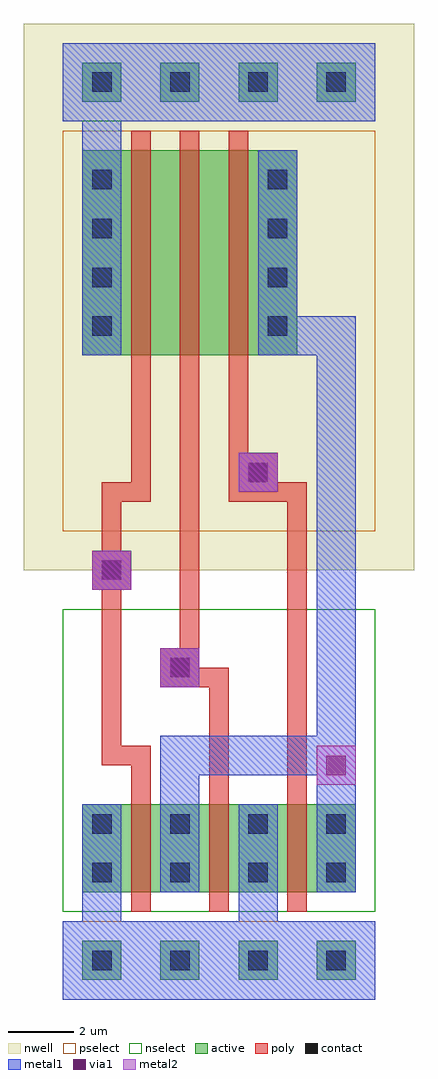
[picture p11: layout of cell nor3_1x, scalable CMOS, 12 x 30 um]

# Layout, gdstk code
import gdstk
lib = gdstk.Library(unit=1e-6, precision=1e-09)
def R(c, l, rs):  # rectangles x0, y0, x1, y1
    for r in rs: c.add(gdstk.rectangle(r[:2], r[2:], *l))
def A(c, l, x, y, w, h, nx, ny, dx, dy):  # array of equal rectangles
    R(c, l, [(x+i*dx, y+j*dy, x+i*dx+w, y+j*dy+h) for i in range(nx) for j in range(ny)])
def P(c, l, *ps):  # polygons
    for p in ps: c.add(gdstk.Polygon(p, *l))
contact = (25, 0)
nwell = (42, 0)
active = (43, 0)
pselect = (44, 0)
nselect = (45, 0)
poly = (46, 0)
metal1 = (49, 0)
via1 = (50, 0)
metal2 = (51, 0)

nor3_1x = lib.new_cell('nor3_1x')
A(nor3_1x, contact, 0.9, -0.3, 0.6, 0.6, 4, 2, 2.4, 2.7)
A(nor3_1x, contact, 0.9, 3.9, 0.6, 0.6, 4, 2, 2.4, 22.8)
A(nor3_1x, contact, 0.9, 19.2, 0.6, 0.6, 1, 4, 0, 1.5)
A(nor3_1x, contact, 6.3, 19.2, 0.6, 0.6, 1, 4, 0, 1.5)
R(nor3_1x, contact, [(3.3,8.7,3.9,9.3), (1.2,11.7,1.8,12.3), (5.7,14.7,6.3,15.3)])
R(nor3_1x, nwell, [(-1.2,12,10.8,28.8)])
A(nor3_1x, active, 0.6, -0.6, 1.2, 1.2, 4, 2, 2.4, 27)
R(nor3_1x, active, [(0.6,2.1,9,4.8), (0.6,18.6,7.2,24.9)])
R(nor3_1x, pselect, [(0,-1.2,9.6,1.2), (0,13.2,9.6,25.5)])
R(nor3_1x, nselect, [(0,1.5,9.6,10.8), (0,25.8,9.6,28.2)])
R(nor3_1x, poly, [(3,8.4,4.2,9.6), (0.9,11.4,2.1,12.6), (5.4,14.4,6.6,15.6)])
P(nor3_1x, poly, [(2.7,6.6),(1.8,6.6),(1.8,14.1),(2.7,14.1),(2.7,25.5),(2.1,25.5),(2.1,14.7),(1.2,14.7),(1.2,6),(2.1,6),(2.1,1.5),(2.7,1.5)],
  [(5.1,9),(4.2,9),(4.2,25.5),(3.6,25.5),(3.6,8.4),(4.5,8.4),(4.5,1.5),(5.1,1.5)],
  [(7.5,14.7),(5.7,14.7),(5.7,25.5),(5.1,25.5),(5.1,14.1),(6.9,14.1),(6.9,1.5),(7.5,1.5)])
R(nor3_1x, metal1, [(0,-1.2,9.6,1.2), (3,8.4,4.2,9.6), (0.9,11.4,2.1,12.6), (5.4,14.4,6.6,15.6), (0,25.8,9.6,28.2)])
P(nor3_1x, metal1, [(9,19.8),(7.2,19.8),(7.2,24.9),(6,24.9),(6,18.6),(7.8,18.6),(7.8,6.9),(3,6.9),(3,2.1),(4.2,2.1),(4.2,5.7),(7.8,5.7),(7.8,2.1),(9,2.1)],
  [(9.6,28.2),(0,28.2),(0,25.8),(0.6,25.8),(0.6,18.6),(1.8,18.6),(1.8,25.8),(9.6,25.8)],
  [(9.6,1.2),(6.6,1.2),(6.6,4.8),(5.4,4.8),(5.4,1.2),(1.8,1.2),(1.8,4.8),(0.6,4.8),(0.6,1.2),(0,1.2),(0,-1.2),(9.6,-1.2)])
R(nor3_1x, via1, [(8.1,5.7,8.7,6.3), (3.3,8.7,3.9,9.3), (1.2,11.7,1.8,12.3), (5.7,14.7,6.3,15.3)])
R(nor3_1x, metal2, [(7.8,5.4,9,6.6), (3,8.4,4.2,9.6), (0.9,11.4,2.1,12.6), (5.4,14.4,6.6,15.6)])

lib.write_gds('nor3_1x.gds')
